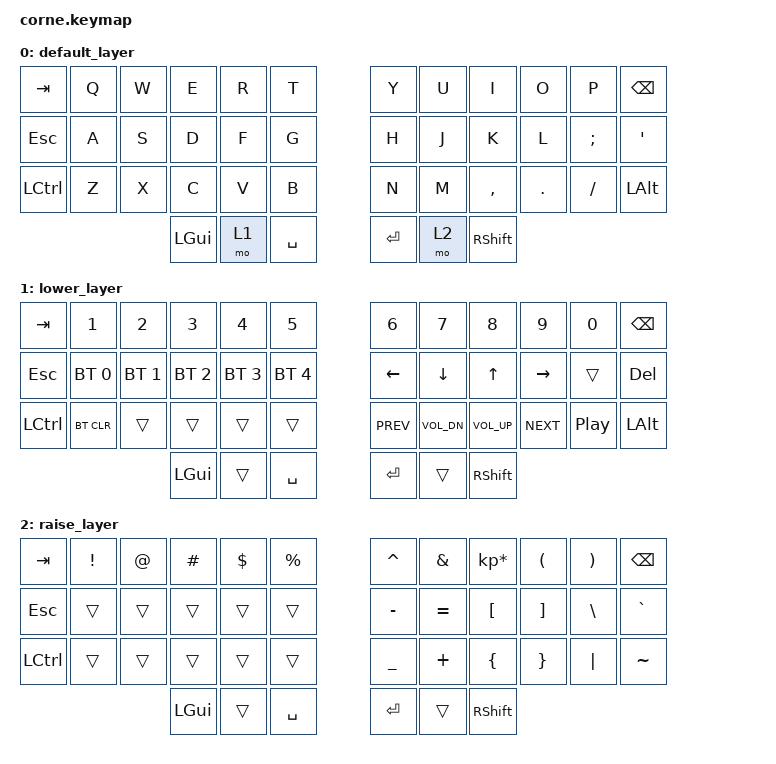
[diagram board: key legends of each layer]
/*
 * Copyright (c) 2020 The ZMK Contributors
 *
 * SPDX-License-Identifier: MIT
 */

#include <behaviors.dtsi>
#include <dt-bindings/zmk/keys.h>
#include <dt-bindings/zmk/bt.h>

/ {
        keymap {
                compatible = "zmk,keymap";

                default_layer {
// -----------------------------------------------------------------------------------------
// |  TAB |  Q  |  W  |  E  |  R  |  T  |   |  Y  |  U   |  I  |  O  |  P  | BKSP |
// | ESC  |  A  |  S  |  D  |  F  |  G  |   |  H  |  J   |  K  |  L  |  ;  |  '   |
// | CTRL |  Z  |  X  |  C  |  V  |  B  |   |  N  |  M   |  ,  |  .  |  /  | ALT  |
//                    | GUI | LWR | SPC |   | ENT | RSE  | SHFT|
                        bindings = <
   &kp TAB   &kp Q &kp W &kp E &kp R &kp T   &kp Y &kp U  &kp I     &kp O   &kp P    &kp BSPC
   &kp ESC   &kp A &kp S &kp D &kp F &kp G   &kp H &kp J  &kp K     &kp L   &kp SEMI &kp SQT
   &kp LCTRL  &kp Z &kp X &kp C &kp V &kp B   &kp N &kp M  &kp COMMA &kp DOT &kp FSLH &kp LALT
                  &kp LGUI &mo 1 &kp SPACE   &kp RET &mo 2 &kp RSHFT
                        >;
                };
                lower_layer {
// -----------------------------------------------------------------------------------------
// |  TAB |  1     |  2  |  3  |  4  |  5  |   |  6  |  7  |  8  |  9  |  0  | BKSP |
// | ESC  | BT1    | BT2 | BT3 | BT4 | BT5 |   | LFT | DWN |  UP | RGT |     | DEL  |
// | CTRL | BT_CLR |     |     |     |     |   | PRV | VDN | VUP | NXT | PLY | ALT  |
//                    | GUI |     | SPC |   | ENT |     | SHFT |
                        bindings = <
   &kp TAB    &kp N1       &kp N2       &kp N3       &kp N4       &kp N5         &kp N6       &kp N7        &kp N8       &kp N9      &kp N0   &kp BSPC
   &kp ESC    &bt BT_SEL 0 &bt BT_SEL 1 &bt BT_SEL 2 &bt BT_SEL 3 &bt BT_SEL 4   &kp LEFT     &kp DOWN      &kp UP       &kp RIGHT   &trans   &kp DEL
   &kp LCTRL  &bt BT_CLR   &trans       &trans       &trans       &trans         &kp C_PREV   &kp C_VOL_DN  &kp C_VOL_UP &kp C_NEXT  &kp C_PP &kp LALT
                                    &kp LGUI     &trans       &kp SPACE      &kp RET  &trans   &kp RSHFT
                        >;
                };

                raise_layer {
// -----------------------------------------------------------------------------------------
// |  TAB |  !  |  @  |  #  |  $  |  %  |   |  ^  |  &  |  *  |  (  |  )  | BKSP |
// | ESC  |     |     |     |     |     |   |  -  |  =  |  [  |  ]  |  \  |  `   |
// | CTRL  |     |     |     |     |     |   |  _  |  +  |  {  |  }  | "|" |  ~   |
//                    | GUI |     | SPC |   | ENT |     | SHFT |
                        bindings = <
   &kp  TAB  &kp EXCL &kp AT &kp HASH &kp DLLR &kp PRCNT   &kp CARET &kp AMPS  &kp KP_MULTIPLY &kp LPAR &kp RPAR &kp BSPC
   &kp ESC &trans   &trans &trans   &trans   &trans      &kp MINUS &kp EQUAL &kp LBKT        &kp RBKT &kp BSLH &kp GRAVE
   &kp LCTRL   &trans   &trans &trans   &trans   &trans      &kp UNDER &kp PLUS  &kp LBRC        &kp RBRC &kp PIPE &kp TILDE
                             &kp LGUI &trans   &kp SPACE   &kp RET   &trans    &kp RSHFT
                        >;
                };
        };
};
